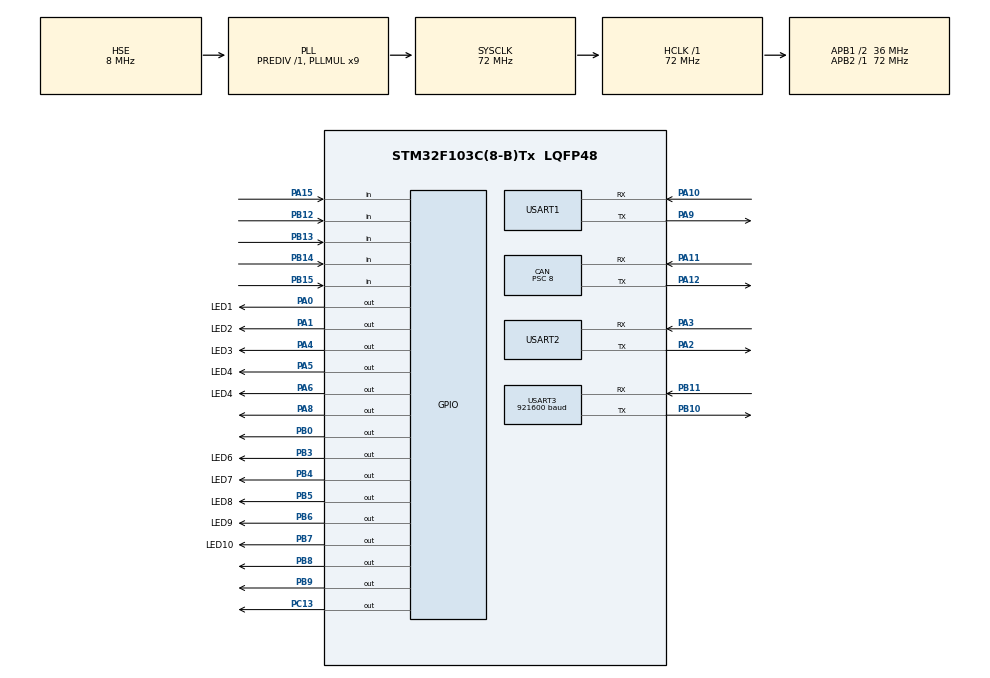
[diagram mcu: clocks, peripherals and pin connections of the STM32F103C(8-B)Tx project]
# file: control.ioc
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CAN.ABOM=ENABLE
CAN.BS1=CAN_BS1_6TQ
CAN.CalculateBaudRate=562500
CAN.CalculateTimeBit=1777
CAN.CalculateTimeQuantum=222.22222222222223
CAN.NART=ENABLE
CAN.Prescaler=8
Mcu.Family=STM32F1
Mcu.Name=STM32F103C(8-B)Tx
Mcu.Package=LQFP48
NVIC.PriorityGroup=NVIC_PRIORITYGROUP_4
NVIC.TIM2_IRQn=true\:0\:0\:false\:false\:true\:true\:true\:true
NVIC.USART3_IRQn=true\:0\:0\:false\:false\:true\:true\:true\:true
PA0-WKUP.GPIO_Label=LED1
PA0-WKUP.GPIO_ModeDefaultOutputPP=GPIO_MODE_OUTPUT_PP
PA0-WKUP.GPIO_PuPd=GPIO_NOPULL
PA0-WKUP.PinState=GPIO_PIN_SET
PA0-WKUP.Signal=GPIO_Output
PA1.GPIO_Label=LED2
PA1.GPIO_ModeDefaultOutputPP=GPIO_MODE_OUTPUT_PP
PA1.GPIO_PuPd=GPIO_NOPULL
PA1.PinState=GPIO_PIN_SET
PA1.Signal=GPIO_Output
PA10.Mode=Asynchronous
PA10.Signal=USART1_RX
PA11.Mode=CAN_Activate
PA11.Signal=CAN_RX
PA12.Mode=CAN_Activate
PA12.Signal=CAN_TX
PA13.Mode=Serial_Wire
PA13.Signal=SYS_JTMS-SWDIO
PA14.Mode=Serial_Wire
PA14.Signal=SYS_JTCK-SWCLK
PA15.Signal=GPIO_Input
PA2.Mode=Asynchronous
PA2.Signal=USART2_TX
PA3.Mode=Asynchronous
PA3.Signal=USART2_RX
PA4.GPIO_Label=LED3
PA4.PinState=GPIO_PIN_SET
PA4.Signal=GPIO_Output
PA5.GPIO_Label=LED4
PA5.PinState=GPIO_PIN_SET
PA5.Signal=GPIO_Output
PA6.GPIO_Label=LED4
PA6.PinState=GPIO_PIN_SET
PA6.Signal=GPIO_Output
PA8.Signal=GPIO_Output
PA9.Mode=Asynchronous
PA9.Signal=USART1_TX
PB0.Signal=GPIO_Output
PB10.Mode=Asynchronous
PB10.Signal=USART3_TX
PB11.Mode=Asynchronous
PB11.Signal=USART3_RX
PB12.GPIO_PuPd=GPIO_PULLUP
PB12.Signal=GPIO_Input
PB13.GPIO_PuPd=GPIO_PULLUP
PB13.Signal=GPIO_Input
PB14.GPIO_PuPd=GPIO_PULLUP
PB14.Signal=GPIO_Input
PB15.GPIO_PuPd=GPIO_PULLUP
PB15.Signal=GPIO_Input
PB3.GPIO_Label=LED6
PB3.GPIO_PuPd=GPIO_NOPULL
PB3.PinState=GPIO_PIN_SET
PB3.Signal=GPIO_Output
PB4.GPIO_Label=LED7
PB4.GPIO_PuPd=GPIO_NOPULL
PB4.PinState=GPIO_PIN_SET
PB4.Signal=GPIO_Output
PB5.GPIO_Label=LED8
PB5.GPIO_PuPd=GPIO_NOPULL
PB5.PinState=GPIO_PIN_SET
PB5.Signal=GPIO_Output
PB6.GPIO_Label=LED9
PB6.GPIO_PuPd=GPIO_NOPULL
PB6.PinState=GPIO_PIN_SET
PB6.Signal=GPIO_Output
PB7.GPIO_Label=LED10
PB7.GPIO_PuPd=GPIO_NOPULL
PB7.PinState=GPIO_PIN_SET
PB7.Signal=GPIO_Output
PB8.Signal=GPIO_Output
PB9.Signal=GPIO_Output
PC13-TAMPER-RTC.GPIO_ModeDefaultOutputPP=GPIO_MODE_OUTPUT_PP
PC13-TAMPER-RTC.GPIO_PuPd=GPIO_NOPULL
PC13-TAMPER-RTC.GPIO_Speed=GPIO_SPEED_FREQ_HIGH
PC13-TAMPER-RTC.PinState=GPIO_PIN_RESET
PC13-TAMPER-RTC.Signal=GPIO_Output
PD0-OSC_IN.Mode=HSE-External-Oscillator
PD0-OSC_IN.Signal=RCC_OSC_IN
PD1-OSC_OUT.Mode=HSE-External-Oscillator
PD1-OSC_OUT.Signal=RCC_OSC_OUT
ProjectManager.HeapSize=0x200
ProjectManager.StackSize=0x400
ProjectManager.TargetToolchain=MDK-ARM V5.32
RCC.AHBFreq_Value=72000000
RCC.APB1CLKDivider=RCC_HCLK_DIV2
RCC.APB1Freq_Value=36000000
RCC.APB1TimFreq_Value=72000000
RCC.APB2Freq_Value=72000000
RCC.APB2TimFreq_Value=72000000
RCC.HCLKFreq_Value=72000000
RCC.PLLMUL=RCC_PLL_MUL9
RCC.PLLSourceVirtual=RCC_PLLSOURCE_HSE
RCC.SYSCLKFreq_VALUE=72000000
RCC.SYSCLKSource=RCC_SYSCLKSOURCE_PLLCLK
RCC.USBFreq_Value=72000000
TIM1.Period=65535
TIM1.Prescaler=71
TIM2.Period=4999
TIM2.Prescaler=7999
USART1.VirtualMode=VM_ASYNC
USART2.VirtualMode=VM_ASYNC
USART3.BaudRate=921600
USART3.VirtualMode=VM_ASYNC
VP_TIM1_VS_ClockSourceINT.Mode=Internal
VP_TIM2_VS_ClockSourceINT.Mode=Internal
board=custom

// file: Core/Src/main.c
/* USER CODE BEGIN Header */
/**
  ******************************************************************************
  * @file           : main.c
  * @brief          : Main program body
  ******************************************************************************
  * @attention
  *
  * Copyright (c) 2025 STMicroelectronics.
  * All rights reserved.
  *
  * This software is licensed under terms that can be found in the LICENSE file
  * in the root directory of this software component.
  * If no LICENSE file comes with this software, it is provided AS-IS.
  *
  ******************************************************************************
  */
/* USER CODE END Header */
#include "main.h"
#include "can.h"
#include "tim.h"
#include "usart.h"
#include "gpio.h"

/* USER CODE BEGIN Includes */
#include "NV080D.h"
#include "switch.h"
#include "KTH577.h"
#include "SEGGER_RTT.h"
#include "TTL2CAN.h"
#include "sbus_tx.h"
/* USER CODE END Includes */

/* USER CODE BEGIN PTD */
#define debug(...)   printf(__VA_ARGS__)
#define bool	_Bool
#define true 	1
#define false	0
/* USER CODE END PTD */

/* USER CODE BEGIN PM */
typedef struct time_task{

	bool task_1ms;
	bool task_10ms;
	bool task_100ms;
	bool task_1s;
	bool task_2s;
	bool task_5s;

}time_task;

time_task tim_task;
/* USER CODE END PM */

void SystemClock_Config(void);
/* USER CODE BEGIN PFP */
void systim_task(){
	uint32_t current_time = HAL_GetTick();

	if((current_time % 1) == 0){
		tim_task.task_1s = true;
	}
	if((current_time % 14) == 0){
		tim_task.task_10ms = true;   /* 14ms 周期：对齐标准 SBUS 遥控器帧间隔 */
	}
	if((current_time % 100) == 0){
		tim_task.task_100ms = true;
	}
	if((current_time % 1000) == 0){
		tim_task.task_1s = true;
	}
	if((current_time % 2000) == 0){
		tim_task.task_2s = true;
	}
	if((current_time % 5000) == 0){
		tim_task.task_5s = true;
	}
}
/* USER CODE END PFP */

/* USER CODE BEGIN 0 */
uint8_t rx_flag = 0;
uint8_t  Can_Tx_Result = 0;    // 最近一次 CAN 发送返回值: 0=成功 1=邮箱满 2=总线超时无应答
uint32_t Can_Tx_Ok_Count = 0;  // 成功发出且被应答的帧计数
uint32_t Can_Esr = 0;          // CAN 错误状态寄存器 ESR 快照
/* USER CODE END 0 */

int main(void)
{

  /* MCU Configuration--------------------------------------------------------*/

  /* Reset of all peripherals, Initializes the Flash interface and the Systick. */
  HAL_Init();

  /* Configure the system clock */
  SystemClock_Config();

  /* Initialize all configured peripherals */
  MX_GPIO_Init();
  MX_CAN_Init();
  MX_USART1_UART_Init();
  MX_USART3_UART_Init();
  MX_TIM2_Init();
  MX_TIM1_Init();
  MX_USART2_UART_Init();
  /* USER CODE BEGIN 2 */

	KTH577_init();
	HAL_TIM_Base_Start_IT(&htim2);
	HAL_TIM_Base_Start(&htim1);
	HAL_CAN_Start(&hcan);   // 启动 CAN 外设（CubeMX 只初始化未启动，否则发不出去）
	//HAL_GPIO_WritePin(VCC_PORT,VCC_PIN,GPIO_PIN_SET); // TODO: 总电源保持引脚待确认后恢复
	HAL_GPIO_WritePin(LED1_GPIO_Port,LED1_Pin,GPIO_PIN_RESET);
	//printf("ABC123\r\n");
	Start_OneLine();
	HAL_UART_Receive_IT(&huart3, (uint8_t *)&rx_byte, 1);//出发接收中断
	SendByte_OneLine(0x06);
	SBUS_TX_Init();   // SBUS 发送端：USART2 配置为 100000 8E2
  /* USER CODE END 2 */

  /* Infinite loop */
  while (1)
  {

    /* USER CODE BEGIN 3 */
		//printf("noname:%d\n",Touch2PWM[0]);
		systim_task();   // 定时任务调度：置位 task_10ms 等标志，否则按键扫描永远不执行
		if(tim_task.task_10ms == true){
			switch_scan();
			SBUS_TX_SendFrame();   // 每 14ms 对外发送一帧 SBUS（对齐标准遥控器）
			// 底盘下发只走 SBUS（PA2），CAN 通道不用
			//if(Enable_State){
			//	TTL_data2can(Touch2PWM);
			//	Can_Tx_Result = CAN_Send_Msg(0x18C4D1D0, transmit_data, 8);
			//	if(Can_Tx_Result == 0){
			//		Can_Tx_Ok_Count++;
			//	}
			//	Can_Esr = hcan.Instance->ESR;
			//}
			tim_task.task_10ms = false;
		}
		if(Serial_RxFlag == 1){
			debug("%#x\r\n",Serial_RxPacket[0]);
			debug("%#x\r\n",Serial_RxPacket[1]);
			debug("%#x\r\n",Serial_RxPacket[2]);
			debug("%#x\r\n",Serial_RxPacket[3]);
			Serial_RxFlag = 0;
			//CAN_Send_Msg(0x18C4D2D0,transmit_data,8);
		}

	}
  /* USER CODE END 3 */
}

void SystemClock_Config(void)
{
  RCC_OscInitTypeDef RCC_OscInitStruct = {0};
  RCC_ClkInitTypeDef RCC_ClkInitStruct = {0};

  /** Initializes the RCC Oscillators according to the specified parameters
  * in the RCC_OscInitTypeDef structure.
  */
  RCC_OscInitStruct.OscillatorType = RCC_OSCILLATORTYPE_HSE;
  RCC_OscInitStruct.HSEState = RCC_HSE_ON;
  RCC_OscInitStruct.HSEPredivValue = RCC_HSE_PREDIV_DIV1;
  RCC_OscInitStruct.HSIState = RCC_HSI_ON;
  RCC_OscInitStruct.PLL.PLLState = RCC_PLL_ON;
  RCC_OscInitStruct.PLL.PLLSource = RCC_PLLSOURCE_HSE;
  RCC_OscInitStruct.PLL.PLLMUL = RCC_PLL_MUL9;
  if (HAL_RCC_OscConfig(&RCC_OscInitStruct) != HAL_OK)
  {
    Error_Handler();
  }

  /** Initializes the CPU, AHB and APB buses clocks
  */
  RCC_ClkInitStruct.ClockType = RCC_CLOCKTYPE_HCLK|RCC_CLOCKTYPE_SYSCLK
                              |RCC_CLOCKTYPE_PCLK1|RCC_CLOCKTYPE_PCLK2;
  RCC_ClkInitStruct.SYSCLKSource = RCC_SYSCLKSOURCE_PLLCLK;
  RCC_ClkInitStruct.AHBCLKDivider = RCC_SYSCLK_DIV1;
  RCC_ClkInitStruct.APB1CLKDivider = RCC_HCLK_DIV2;
  RCC_ClkInitStruct.APB2CLKDivider = RCC_HCLK_DIV1;

  if (HAL_RCC_ClockConfig(&RCC_ClkInitStruct, FLASH_LATENCY_2) != HAL_OK)
  {
    Error_Handler();
  }
}

/* USER CODE BEGIN 4 */

// 微秒级延时函数（基于TIM1）
void Delay_us(uint16_t us) {
    __HAL_TIM_SET_COUNTER(&htim1, 0);    // 清零计数器
    while (__HAL_TIM_GET_COUNTER(&htim1) < us); // 等待指定微秒数
}

// 延时N毫秒（直接调用微秒函数）
void Delay_ms(uint32_t ms) {
    Delay_us(ms * 1000); // 前提是微秒函数支持大参数（如uint32_t）
}

/* USER CODE END 4 */

void Error_Handler(void)
{
  /* USER CODE BEGIN Error_Handler_Debug */
  /* User can add his own implementation to report the HAL error return state */
  __disable_irq();
  /*while (1)
  {
  }*/
  /* USER CODE END Error_Handler_Debug */
}
